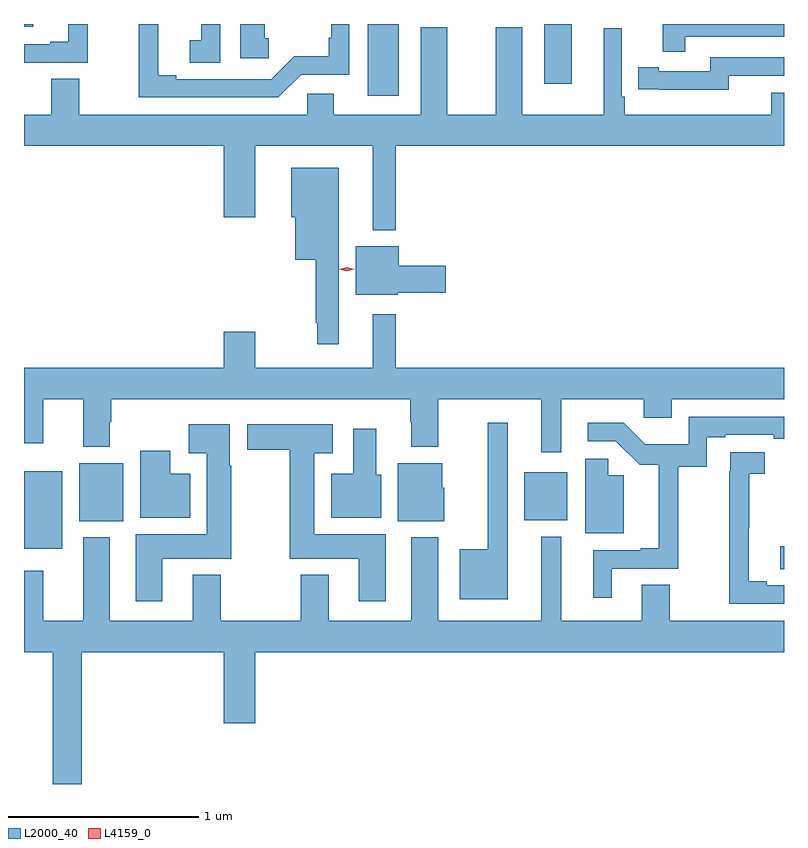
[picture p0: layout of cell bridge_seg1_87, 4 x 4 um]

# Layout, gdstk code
import gdstk
lib = gdstk.Library(unit=1e-6, precision=1e-09)
def R(c, l, rs):  # rectangles x0, y0, x1, y1
    for r in rs: c.add(gdstk.rectangle(r[:2], r[2:], *l))
def P(c, l, *ps):  # polygons
    for p in ps: c.add(gdstk.Polygon(p, *l))
L2000_40 = (2000, 40)
L4159_0 = (4159, 0)

bridge_seg1_87 = lib.new_cell('bridge_seg1_87')
R(bridge_seg1_87, L2000_40, [(155.949,512.209,155.968,512.329), (151.968,512.315,152.17,512.725), (152.258,512.462,152.491,512.767), (154.601,512.465,154.828,512.719), (153.776,514.701,153.94,515.078), (154.706,514.764,154.852,515.078), (151.968,515.063,152.017,515.078)])
P(bridge_seg1_87, L2000_40, [(153.426,514.812),(153.681,514.812),(153.681,515.078),(153.585,515.078),(153.585,515.005),(153.573,515.005),(153.573,514.909),(153.391,514.909),(153.27,514.788),(152.77,514.788),(152.77,514.808),(152.674,514.808),(152.674,515.078),(152.572,515.078),(152.572,514.692),(153.306,514.692)],
  [(155.447,515.01),(155.968,515.01),(155.968,515.078),(155.33,515.078),(155.33,514.932),(155.447,514.932)],
  [(152.303,515.078),(152.201,515.078),(152.201,514.984),(152.105,514.984),(152.105,514.971),(151.968,514.971),(151.968,514.875),(152.303,514.875)],
  [(153,515.078),(152.902,515.078),(152.902,514.993),(152.841,514.993),(152.841,514.873),(153,514.873)],
  [(153.257,515.004),(153.235,515.004),(153.235,515.078),(153.107,515.078),(153.107,514.899),(153.257,514.899)],
  [(155.968,514.717),(155.9,514.717),(155.9,514.6),(155.129,514.6),(155.129,514.696),(155.115,514.696),(155.115,515.056),(155.018,515.056),(155.018,514.6),(154.591,514.6),(154.591,515.062),(154.451,515.062),(154.451,514.6),(154.195,514.6),(154.195,515.062),(154.055,515.062),(154.055,514.6),(153.598,514.6),(153.598,514.71),(153.459,514.71),(153.459,514.6),(152.259,514.6),(152.259,514.79),(152.111,514.79),(152.111,514.6),(151.968,514.6),(151.968,514.436),(153.02,514.436),(153.02,514.062),(153.184,514.062),(153.184,514.436),(153.803,514.436),(153.803,513.992),(153.925,513.992),(153.925,514.436),(155.968,514.436)],
  [(155.676,514.806),(155.968,514.806),(155.968,514.902),(155.58,514.902),(155.58,514.83),(155.308,514.83),(155.308,514.85),(155.2,514.85),(155.2,514.734),(155.308,514.734),(155.308,514.733),(155.676,514.733)],
  [(153.625,514.321),(153.374,514.321),(153.374,514.062),(153.395,514.062),(153.395,513.836),(153.504,513.836),(153.504,513.505),(153.511,513.505),(153.511,513.393),(153.625,513.393)],
  [(153.936,513.664),(154.189,513.664),(154.189,513.806),(153.94,513.806),(153.94,513.907),(153.713,513.907),(153.713,513.653),(153.936,513.653)],
  [(154.795,513.104),(155.231,513.104),(155.231,513.006),(155.377,513.006),(155.377,513.104),(155.968,513.104),(155.968,513.268),(153.925,513.268),(153.925,513.55),(153.803,513.55),(153.803,513.268),(153.184,513.268),(153.184,513.457),(153.02,513.457),(153.02,513.268),(151.968,513.268),(151.968,513.104),(151.97,513.104),(151.97,512.871),(152.069,512.871),(152.069,513.104),(152.279,513.104),(152.279,512.852),(152.419,512.852),(152.419,512.984),(152.427,512.984),(152.427,513.104),(154,513.104),(154,512.984),(154.007,512.984),(154.007,512.852),(154.147,512.852),(154.147,513.104),(154.691,513.104),(154.691,512.823),(154.795,512.823)],
  [(155.062,512.211),(155.411,512.211),(155.411,512.749),(155.562,512.749),(155.562,512.902),(155.659,512.902),(155.659,512.916),(155.915,512.916),(155.915,512.896),(155.968,512.896),(155.968,513.012),(155.466,513.012),(155.466,512.866),(155.237,512.866),(155.124,512.979),(154.935,512.979),(154.935,512.883),(155.082,512.883),(155.209,512.757),(155.309,512.757),(155.309,512.32),(155.213,512.32),(155.213,512.307),(154.964,512.307),(154.964,512.058),(155.062,512.058)],
  [(154.513,512.98),(154.409,512.98),(154.409,512.314),(154.262,512.314),(154.262,512.051),(154.513,512.051)],
  [(152.695,512.264),(153.06,512.264),(153.06,512.753),(153.052,512.753),(153.052,512.971),(152.835,512.971),(152.835,512.819),(152.93,512.819),(152.93,512.392),(152.555,512.392),(152.555,512.04),(152.695,512.04)],
  [(153.871,512.392),(153.496,512.392),(153.496,512.819),(153.592,512.819),(153.592,512.971),(153.144,512.971),(153.144,512.837),(153.367,512.837),(153.367,512.264),(153.731,512.264),(153.731,512.04),(153.871,512.04)],
  [(153.847,512.706),(153.823,512.706),(153.823,512.947),(153.701,512.947),(153.701,512.71),(153.584,512.71),(153.584,512.48),(153.847,512.48)],
  [(152.842,512.71),(152.737,512.71),(152.737,512.833),(152.579,512.833),(152.579,512.48),(152.842,512.48)],
  [(155.968,512.124),(155.878,512.124),(155.878,512.144),(155.782,512.144),(155.782,512.427),(155.784,512.427),(155.784,512.71),(155.866,512.71),(155.866,512.825),(155.686,512.825),(155.686,512.723),(155.68,512.723),(155.68,512.028),(155.968,512.028)],
  [(155.125,512.704),(155.043,512.704),(155.043,512.791),(154.922,512.791),(154.922,512.399),(155.125,512.399)],
  [(154.18,512.637),(154.168,512.637),(154.168,512.767),(153.935,512.767),(153.935,512.462),(154.18,512.462)],
  [(152.273,511.772),(153.02,511.772),(153.02,511.398),(153.184,511.398),(153.184,511.772),(155.968,511.772),(155.968,511.936),(155.367,511.936),(155.367,512.126),(155.219,512.126),(155.219,511.936),(154.795,511.936),(154.795,512.38),(154.691,512.38),(154.691,511.936),(154.147,511.936),(154.147,512.377),(154.007,512.377),(154.007,511.936),(153.571,511.936),(153.571,512.179),(153.424,512.179),(153.424,511.936),(153.003,511.936),(153.003,512.179),(152.855,512.179),(152.855,511.936),(152.419,511.936),(152.419,512.377),(152.279,512.377),(152.279,511.936),(152.069,511.936),(152.069,512.2),(151.97,512.2),(151.97,512.06),(151.968,512.06),(151.968,511.772),(152.12,511.772),(152.12,511.078),(152.273,511.078)])
P(bridge_seg1_87, L4159_0, [(153.666,513.777),(153.626,513.788),(153.626,513.788),(153.626,513.788),(153.667,513.797),(153.707,513.786),(153.708,513.786),(153.707,513.786)])

lib.write_gds('bridge_seg1_87.gds')
